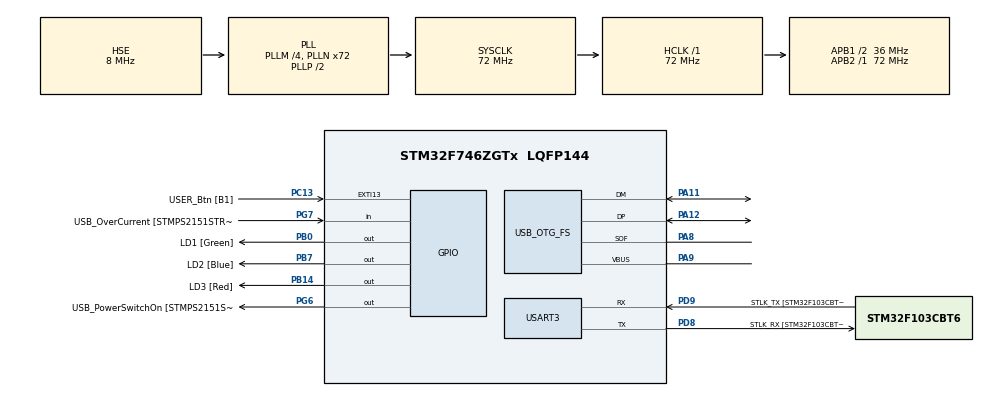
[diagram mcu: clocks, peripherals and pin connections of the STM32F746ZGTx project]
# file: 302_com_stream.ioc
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FREERTOS.INCLUDE_vTaskDelayUntil=1
FREERTOS.Queues01=vcom_rx_queue,80,uint8_t,0,Dynamic,NULL,NULL
FREERTOS.Tasks01=defaultTask,0,128,StartDefaultTask,Default,NULL,Dynamic,NULL,NULL
FREERTOS.configUSE_NEWLIB_REENTRANT=1
Mcu.Family=STM32F7
Mcu.Name=STM32F746ZGTx
Mcu.Package=LQFP144
NVIC.OTG_FS_IRQn=true\:5\:0\:false\:false\:true\:true\:false\:true\:true
NVIC.PriorityGroup=NVIC_PRIORITYGROUP_4
NVIC.TIM2_IRQn=true\:0\:0\:false\:false\:true\:false\:false\:true\:true
NVIC.TimeBase=TIM2_IRQn
NVIC.TimeBaseIP=TIM2
PA1.GPIO_Label=RMII_REF_CLK [LAN8742A-CZ-TR_REFCLK0]
PA1.Signal=ETH_REF_CLK
PA10.GPIO_Label=USB_ID
PA10.Signal=USB_OTG_FS_ID
PA11.GPIO_Mode=GPIO_MODE_AF_PP
PA11.GPIO_PuPd=GPIO_NOPULL
PA11.GPIO_Speed=GPIO_SPEED_FREQ_VERY_HIGH
PA11.Mode=Device_Only
PA11.Signal=USB_OTG_FS_DM
PA12.GPIO_Mode=GPIO_MODE_AF_PP
PA12.GPIO_PuPd=GPIO_NOPULL
PA12.GPIO_Speed=GPIO_SPEED_FREQ_VERY_HIGH
PA12.Mode=Device_Only
PA12.Signal=USB_OTG_FS_DP
PA13.GPIO_Label=TMS
PA13.Mode=Serial_Wire
PA13.Signal=SYS_JTMS-SWDIO
PA14.GPIO_Label=TCK
PA14.Mode=Serial_Wire
PA14.Signal=SYS_JTCK-SWCLK
PA2.GPIO_Label=RMII_MDIO [LAN8742A-CZ-TR_MDIO]
PA2.Signal=ETH_MDIO
PA7.GPIO_Label=RMII_CRS_DV [LAN8742A-CZ-TR_CRS_DV]
PA7.Signal=ETH_CRS_DV
PA8.GPIO_Mode=GPIO_MODE_AF_PP
PA8.GPIO_PuPd=GPIO_NOPULL
PA8.GPIO_Speed=GPIO_SPEED_FREQ_VERY_HIGH
PA8.Mode=Activate_SOF_FS
PA8.Signal=USB_OTG_FS_SOF
PA9.GPIO_Mode=GPIO_MODE_INPUT
PA9.GPIO_PuPd=GPIO_NOPULL
PA9.Mode=Activate_VBUS
PA9.Signal=USB_OTG_FS_VBUS
PB0.GPIO_Label=LD1 [Green]
PB0.Signal=GPIO_Output
PB13.GPIO_Label=RMII_TXD1 [LAN8742A-CZ-TR_TXD1]
PB13.Signal=ETH_TXD1
PB14.GPIO_Label=LD3 [Red]
PB14.Signal=GPIO_Output
PB3.GPIO_Label=SW0
PB3.Signal=SYS_JTDO-SWO
PB7.GPIO_Label=LD2 [Blue]
PB7.Signal=GPIO_Output
PC1.GPIO_Label=RMII_MDC [LAN8742A-CZ-TR_MDC]
PC1.Signal=ETH_MDC
PC13.GPIO_Label=USER_Btn [B1]
PC13.Signal=GPXTI13
PC14/OSC32_IN.Mode=LSE-External-Oscillator
PC14/OSC32_IN.Signal=RCC_OSC32_IN
PC15/OSC32_OUT.Mode=LSE-External-Oscillator
PC15/OSC32_OUT.Signal=RCC_OSC32_OUT
PC4.GPIO_Label=RMII_RXD0 [LAN8742A-CZ-TR_RXD0]
PC4.Signal=ETH_RXD0
PC5.GPIO_Label=RMII_RXD1 [LAN8742A-CZ-TR_RXD1]
PC5.Signal=ETH_RXD1
PD8.GPIO_Label=STLK_RX [STM32F103CBT6_PA3]
PD8.Mode=Asynchronous
PD8.Signal=USART3_TX
PD9.GPIO_Label=STLK_TX [STM32F103CBT6_PA2]
PD9.Mode=Asynchronous
PD9.Signal=USART3_RX
PG11.GPIO_Label=RMII_TX_EN [LAN8742A-CZ-TR_TXEN]
PG11.Signal=ETH_TX_EN
PG13.GPIO_Label=RMII_TXD0 [LAN8742A-CZ-TR_TXD0]
PG13.Signal=ETH_TXD0
PG6.GPIO_Label=USB_PowerSwitchOn [STMPS2151STR_EN]
PG6.Signal=GPIO_Output
PG7.GPIO_Label=USB_OverCurrent [STMPS2151STR_FAULT]
PG7.Signal=GPIO_Input
PH0/OSC_IN.GPIO_Label=MCO [STM32F103CBT6_PA8]
PH0/OSC_IN.Mode=HSE-External-Clock-Source
PH0/OSC_IN.Signal=RCC_OSC_IN
PH1/OSC_OUT.Mode=HSE-External-Clock-Source
PH1/OSC_OUT.Signal=RCC_OSC_OUT
ProjectManager.HeapSize=0x200
ProjectManager.StackSize=0x400
ProjectManager.TargetToolchain=STM32CubeIDE
RCC.48MHZClocksFreq_Value=24000000
RCC.AHBFreq_Value=72000000
RCC.APB1CLKDivider=RCC_HCLK_DIV2
RCC.APB1Freq_Value=36000000
RCC.APB1TimFreq_Value=72000000
RCC.APB2Freq_Value=72000000
RCC.APB2TimFreq_Value=72000000
RCC.CortexFreq_Value=72000000
RCC.HCLKFreq_Value=72000000
RCC.HSE_VALUE=8000000
RCC.HSI_VALUE=16000000
RCC.PLLM=4
RCC.PLLMUL=RCC_PLL_MUL9
RCC.PLLN=72
RCC.PLLQ=3
RCC.PRESCALERUSB=RCC_USBCLKSOURCE_PLL_DIV1_5
RCC.SYSCLKFreq_VALUE=72000000
RCC.SYSCLKSource=RCC_SYSCLKSOURCE_PLLCLK
RCC.SYSCLKSourceVirtual=RCC_SYSCLKSOURCE_PLLCLK
RCC.USBFreq_Value=48000000
RCC.VCOOutputFreq_Value=144000000
USART3.VirtualMode-Asynchronous=VM_ASYNC
USB_DEVICE.CLASS_NAME_FS=CDC
USB_DEVICE.VirtualMode-CDC_FS=Cdc
USB_DEVICE.VirtualModeFS=Cdc_FS
USB_OTG_FS.VirtualMode=Device_Only
VP_FREERTOS_VS_CMSIS_V1.Mode=CMSIS_V1
VP_SYS_VS_tim2.Mode=TIM2
VP_USB_DEVICE_VS_USB_DEVICE_CDC_FS.Mode=CDC_FS
board=NUCLEO-F746ZG

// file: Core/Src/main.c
/* USER CODE BEGIN Header */
/**
  ******************************************************************************
  * @file           : main.c
  * @brief          : Main program body
  ******************************************************************************
  * @attention
  *
  * Copyright (c) 2023 STMicroelectronics.
  * All rights reserved.
  *
  * This software is licensed under terms that can be found in the LICENSE file
  * in the root directory of this software component.
  * If no LICENSE file comes with this software, it is provided AS-IS.
  *
  ******************************************************************************
  */
/* USER CODE END Header */
#include "main.h"
#include "cmsis_os.h"
#include "usb_device.h"

/* USER CODE BEGIN Includes */
#include <ctype.h>
#include <string.h>
#include "usbd_cdc_if.h"

/* USER CODE END Includes */

UART_HandleTypeDef huart3;

osThreadId defaultTaskHandle;
osMessageQId vcom_rx_queueHandle;

void SystemClock_Config(void);
static void MX_GPIO_Init(void);
static void MX_USART3_UART_Init(void);
void StartDefaultTask(void const * argument);

int main(void)
{

  /* MCU Configuration--------------------------------------------------------*/

  /* Reset of all peripherals, Initializes the Flash interface and the Systick. */
  HAL_Init();

  /* Configure the system clock */
  SystemClock_Config();

  /* Initialize all configured peripherals */
  MX_GPIO_Init();
  MX_USART3_UART_Init();

  /* Create the queue(s) */
  /* definition and creation of vcom_rx_queue */
  osMessageQDef(vcom_rx_queue, 80, uint8_t);
  vcom_rx_queueHandle = osMessageCreate(osMessageQ(vcom_rx_queue), NULL);

  /* Create the thread(s) */
  /* definition and creation of defaultTask */
  osThreadDef(defaultTask, StartDefaultTask, osPriorityNormal, 0, 128);
  defaultTaskHandle = osThreadCreate(osThread(defaultTask), NULL);

  /* Start scheduler */
  osKernelStart();
  /* We should never get here as control is now taken by the scheduler */
  /* Infinite loop */
  while (1)
  {

  }
}

void SystemClock_Config(void)
{
  RCC_OscInitTypeDef RCC_OscInitStruct = {0};
  RCC_ClkInitTypeDef RCC_ClkInitStruct = {0};

  /** Configure LSE Drive Capability
  */
  HAL_PWR_EnableBkUpAccess();

  /** Configure the main internal regulator output voltage
  */
  __HAL_RCC_PWR_CLK_ENABLE();
  __HAL_PWR_VOLTAGESCALING_CONFIG(PWR_REGULATOR_VOLTAGE_SCALE3);

  /** Initializes the RCC Oscillators according to the specified parameters
  * in the RCC_OscInitTypeDef structure.
  */
  RCC_OscInitStruct.OscillatorType = RCC_OSCILLATORTYPE_HSE;
  RCC_OscInitStruct.HSEState = RCC_HSE_BYPASS;
  RCC_OscInitStruct.PLL.PLLState = RCC_PLL_ON;
  RCC_OscInitStruct.PLL.PLLSource = RCC_PLLSOURCE_HSE;
  RCC_OscInitStruct.PLL.PLLM = 4;
  RCC_OscInitStruct.PLL.PLLN = 72;
  RCC_OscInitStruct.PLL.PLLP = RCC_PLLP_DIV2;
  RCC_OscInitStruct.PLL.PLLQ = 3;
  if (HAL_RCC_OscConfig(&RCC_OscInitStruct) != HAL_OK)
  {
    Error_Handler();
  }

  /** Initializes the CPU, AHB and APB buses clocks
  */
  RCC_ClkInitStruct.ClockType = RCC_CLOCKTYPE_HCLK|RCC_CLOCKTYPE_SYSCLK
                              |RCC_CLOCKTYPE_PCLK1|RCC_CLOCKTYPE_PCLK2;
  RCC_ClkInitStruct.SYSCLKSource = RCC_SYSCLKSOURCE_PLLCLK;
  RCC_ClkInitStruct.AHBCLKDivider = RCC_SYSCLK_DIV1;
  RCC_ClkInitStruct.APB1CLKDivider = RCC_HCLK_DIV2;
  RCC_ClkInitStruct.APB2CLKDivider = RCC_HCLK_DIV1;

  if (HAL_RCC_ClockConfig(&RCC_ClkInitStruct, FLASH_LATENCY_2) != HAL_OK)
  {
    Error_Handler();
  }
}

static void MX_USART3_UART_Init(void)
{

  huart3.Instance = USART3;
  huart3.Init.BaudRate = 115200;
  huart3.Init.WordLength = UART_WORDLENGTH_8B;
  huart3.Init.StopBits = UART_STOPBITS_1;
  huart3.Init.Parity = UART_PARITY_NONE;
  huart3.Init.Mode = UART_MODE_TX_RX;
  huart3.Init.HwFlowCtl = UART_HWCONTROL_NONE;
  huart3.Init.OverSampling = UART_OVERSAMPLING_16;
  huart3.Init.OneBitSampling = UART_ONE_BIT_SAMPLE_DISABLE;
  huart3.AdvancedInit.AdvFeatureInit = UART_ADVFEATURE_NO_INIT;
  if (HAL_UART_Init(&huart3) != HAL_OK)
  {
    Error_Handler();
  }

}

static void MX_GPIO_Init(void)
{
  GPIO_InitTypeDef GPIO_InitStruct = {0};

  /* GPIO Ports Clock Enable */
  __HAL_RCC_GPIOC_CLK_ENABLE();
  __HAL_RCC_GPIOH_CLK_ENABLE();
  __HAL_RCC_GPIOA_CLK_ENABLE();
  __HAL_RCC_GPIOB_CLK_ENABLE();
  __HAL_RCC_GPIOD_CLK_ENABLE();
  __HAL_RCC_GPIOG_CLK_ENABLE();

  /*Configure GPIO pin Output Level */
  HAL_GPIO_WritePin(GPIOB, LD1_Pin|LD3_Pin|LD2_Pin, GPIO_PIN_RESET);

  /*Configure GPIO pin Output Level */
  HAL_GPIO_WritePin(USB_PowerSwitchOn_GPIO_Port, USB_PowerSwitchOn_Pin, GPIO_PIN_RESET);

  /*Configure GPIO pin : USER_Btn_Pin */
  GPIO_InitStruct.Pin = USER_Btn_Pin;
  GPIO_InitStruct.Mode = GPIO_MODE_IT_RISING;
  GPIO_InitStruct.Pull = GPIO_NOPULL;
  HAL_GPIO_Init(USER_Btn_GPIO_Port, &GPIO_InitStruct);

  /*Configure GPIO pins : RMII_MDC_Pin RMII_RXD0_Pin RMII_RXD1_Pin */
  GPIO_InitStruct.Pin = RMII_MDC_Pin|RMII_RXD0_Pin|RMII_RXD1_Pin;
  GPIO_InitStruct.Mode = GPIO_MODE_AF_PP;
  GPIO_InitStruct.Pull = GPIO_NOPULL;
  GPIO_InitStruct.Speed = GPIO_SPEED_FREQ_VERY_HIGH;
  GPIO_InitStruct.Alternate = GPIO_AF11_ETH;
  HAL_GPIO_Init(GPIOC, &GPIO_InitStruct);

  /*Configure GPIO pins : RMII_REF_CLK_Pin RMII_MDIO_Pin RMII_CRS_DV_Pin */
  GPIO_InitStruct.Pin = RMII_REF_CLK_Pin|RMII_MDIO_Pin|RMII_CRS_DV_Pin;
  GPIO_InitStruct.Mode = GPIO_MODE_AF_PP;
  GPIO_InitStruct.Pull = GPIO_NOPULL;
  GPIO_InitStruct.Speed = GPIO_SPEED_FREQ_VERY_HIGH;
  GPIO_InitStruct.Alternate = GPIO_AF11_ETH;
  HAL_GPIO_Init(GPIOA, &GPIO_InitStruct);

  /*Configure GPIO pins : LD1_Pin LD3_Pin LD2_Pin */
  GPIO_InitStruct.Pin = LD1_Pin|LD3_Pin|LD2_Pin;
  GPIO_InitStruct.Mode = GPIO_MODE_OUTPUT_PP;
  GPIO_InitStruct.Pull = GPIO_NOPULL;
  GPIO_InitStruct.Speed = GPIO_SPEED_FREQ_LOW;
  HAL_GPIO_Init(GPIOB, &GPIO_InitStruct);

  /*Configure GPIO pin : RMII_TXD1_Pin */
  GPIO_InitStruct.Pin = RMII_TXD1_Pin;
  GPIO_InitStruct.Mode = GPIO_MODE_AF_PP;
  GPIO_InitStruct.Pull = GPIO_NOPULL;
  GPIO_InitStruct.Speed = GPIO_SPEED_FREQ_VERY_HIGH;
  GPIO_InitStruct.Alternate = GPIO_AF11_ETH;
  HAL_GPIO_Init(RMII_TXD1_GPIO_Port, &GPIO_InitStruct);

  /*Configure GPIO pin : USB_PowerSwitchOn_Pin */
  GPIO_InitStruct.Pin = USB_PowerSwitchOn_Pin;
  GPIO_InitStruct.Mode = GPIO_MODE_OUTPUT_PP;
  GPIO_InitStruct.Pull = GPIO_NOPULL;
  GPIO_InitStruct.Speed = GPIO_SPEED_FREQ_LOW;
  HAL_GPIO_Init(USB_PowerSwitchOn_GPIO_Port, &GPIO_InitStruct);

  /*Configure GPIO pin : USB_OverCurrent_Pin */
  GPIO_InitStruct.Pin = USB_OverCurrent_Pin;
  GPIO_InitStruct.Mode = GPIO_MODE_INPUT;
  GPIO_InitStruct.Pull = GPIO_NOPULL;
  HAL_GPIO_Init(USB_OverCurrent_GPIO_Port, &GPIO_InitStruct);

  /*Configure GPIO pins : RMII_TX_EN_Pin RMII_TXD0_Pin */
  GPIO_InitStruct.Pin = RMII_TX_EN_Pin|RMII_TXD0_Pin;
  GPIO_InitStruct.Mode = GPIO_MODE_AF_PP;
  GPIO_InitStruct.Pull = GPIO_NOPULL;
  GPIO_InitStruct.Speed = GPIO_SPEED_FREQ_VERY_HIGH;
  GPIO_InitStruct.Alternate = GPIO_AF11_ETH;
  HAL_GPIO_Init(GPIOG, &GPIO_InitStruct);

}

void StartDefaultTask(void const * argument)
{
  /* init code for USB_DEVICE */
  MX_USB_DEVICE_Init();
  /* USER CODE BEGIN 5 */
  GPIO_PinState pin_status = 0;
  char channel = 'G';
  /* Infinite loop */
  for(;;)
  {
    uint8_t buffer_usb_byte;
    BaseType_t status = xQueueReceive(vcom_rx_queueHandle, &buffer_usb_byte, 0 );
    if (status) {
      switch (buffer_usb_byte) {
        case 'R': case 'G': case 'B':
          channel=buffer_usb_byte;
        break;
        case 'r': case 'g': case 'b':
          channel=toupper(buffer_usb_byte);
        break;
        case '0':
          switch(channel) {
            case'R':
              HAL_GPIO_WritePin(GPIOB, GPIO_PIN_14, GPIO_PIN_RESET);
            break;
            case'G':
              HAL_GPIO_WritePin(GPIOB, GPIO_PIN_0, GPIO_PIN_RESET);
            break;
            case'B':
              HAL_GPIO_WritePin(GPIOB, GPIO_PIN_7, GPIO_PIN_RESET);
            break;
          }
        break;

        case '1':
            switch(channel) {
              case'R':
                HAL_GPIO_WritePin(GPIOB, GPIO_PIN_14, GPIO_PIN_SET);
              break;
              case'G':
                HAL_GPIO_WritePin(GPIOB, GPIO_PIN_0, GPIO_PIN_SET);
              break;
              case'B':
                HAL_GPIO_WritePin(GPIOB, GPIO_PIN_7, GPIO_PIN_SET);
              break;
            }
        break;
        default:
          CDC_Transmit_FS( (uint8_t *)"?", 1 );
      }
    }

    GPIO_PinState new_status = HAL_GPIO_ReadPin(GPIOC, GPIO_PIN_13);
    if ( pin_status!=new_status ) {
      pin_status=new_status;
      // Prepare the buffer to send the event message out
      char buffer_usb_out[20]; // consider making it static so that it is not on the task stack
      if (pin_status) strcpy(buffer_usb_out, "pressed\r\n");
      else strcpy(buffer_usb_out, "released\r\n");
      CDC_Transmit_FS( (uint8_t *)buffer_usb_out, strlen(buffer_usb_out) );
    }
    osDelay(10);
  }
  /* USER CODE END 5 */
}

void HAL_TIM_PeriodElapsedCallback(TIM_HandleTypeDef *htim)
{
  if (htim->Instance == TIM2) {
    HAL_IncTick();
  }
}

void Error_Handler(void)
{
  __disable_irq();
  while (1)
  {
  }
}
